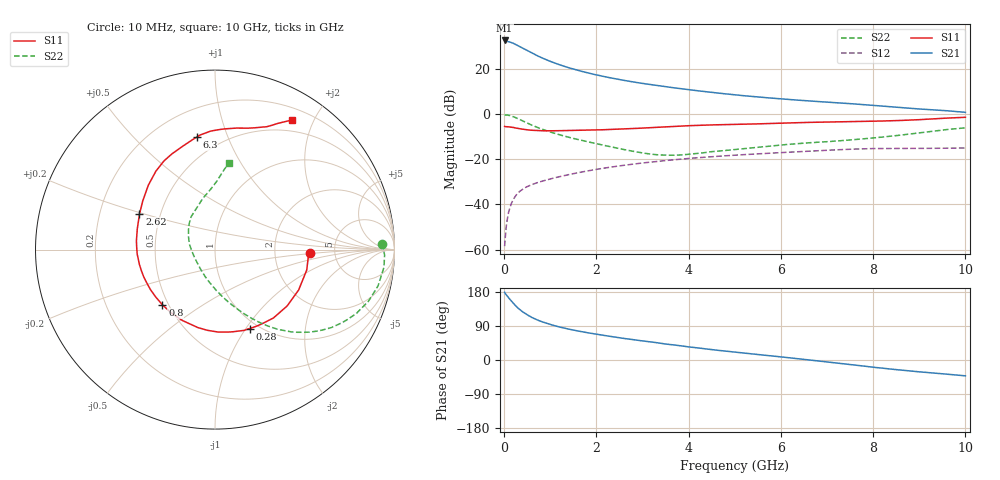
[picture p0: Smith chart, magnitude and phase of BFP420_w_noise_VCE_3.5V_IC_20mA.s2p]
! Infineon Technologies  Discrete & RF Semiconductors
! BFP420
! VCE =  3.5 V,  IC =  20 mA
! Common Emitter S-Parameters:  Jan 2016
# GHz  S  MA  R  50
!  f  S11  S21  S12  S22
! GHz  MAG  ANG  MAG  ANG  MAG  ANG  MAG  ANG
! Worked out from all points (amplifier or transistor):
!   233 points, 10 MHz to 10 GHz, reference 50 ohm
!   highest |S21| = 32.4 dB at 10 MHz (marker M1)
!   |S21| within 3 dB of that: start of sweep to 366.3 MHz
!   unconditionally stable (mu >= 1): start of sweep to 13.98 MHz; 1.841 GHz to end of sweep
!   at 200 MHz: K = 0.27, MSG = 34.4 dB, |S12| = -37.7 dB
!   at 1.74 GHz: K = 0.98, MSG = 22.0 dB, |S12| = -25.5 dB
!   at 10 GHz: K = 1.07, MAG = 6.3 dB, |S12| = -15.1 dB
!   lowest NFmin = 1.23 dB at 900 MHz
!   S11 on the Smith chart (normalised r, x): 10 MHz: 3.22, -0.16; 280 MHz: 0.91, -1.04; 800 MHz: 0.46, -0.35; 2.62 GHz: 0.38, +0.19; 6.3 GHz: 0.37, +0.78; 10 GHz: 0.35, +1.70
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0.01  0.5275 -1.9  41.62 178.6  0.0012 57.6  0.9337 2.0
0.02  0.5214 -4.5  40.49 176.2  0.0017 76.3  0.9456 -1.9
0.055  0.5218 -13.9  39.95 170.6  0.0038 76.7  0.9443 -6.6
0.1  0.5175 -25.8  39.22 163.7  0.0069 76.0  0.9306 -12.6
0.15  0.5101 -38.0  37.73 156.2  0.0101 73.0  0.9016 -18.7
0.2  0.5011 -49.5  35.99 149.3  0.013 70.0  0.8645 -24.3
0.28  0.4802 -66.3  32.76 139.5  0.017 65.4  0.7973 -31.9
0.32  0.4724 -73.9  31.23 135.1  0.0187 63.5  0.7634 -35.3
0.4  0.46 -87.7  28.23 127.2  0.0216 60.3  0.6981 -41.2
0.5  0.4448 -102.4  24.82 119.1  0.0248 57.7  0.6246 -47.2
0.6  0.4347 -114.6  21.95 112.3  0.0274 55.8  0.5624 -52.0
0.8  0.4245 -133.6  17.5 101.7  0.0321 54.0  0.4664 -59.3
1  0.4231 -148.0  14.39 93.7  0.0365 53.3  0.3971 -65.2
1.16  0.4239 -156.9  12.53 88.4  0.0401 53.0  0.3547 -69.3
1.68  0.4351 -178.7  8.669 74.8  0.0519 51.6  0.2595 -82.0
2.62  0.4658 154.6  5.426 56.5  0.0736 46.2  0.1611 -109.5
3.4  0.5091 137.9  4.097 44.0  0.0909 39.9  0.1235 -144.6
5.1  0.5875 113.0  2.566 19.6  0.124 25.0  0.1667 152.3
6.3  0.6345 99.3  2.028 4.3  0.1445 14.6  0.2175 129.1
6.8  0.6536 94.1  1.869 -2.4  0.1534 9.9  0.2357 120.8
8.4  0.7026 74.4  1.426 -24.2  0.1717 -7.6  0.3218 96.8
10  0.8388 59.3  1.08 -41.8  0.176 -19.9  0.4912 80.8
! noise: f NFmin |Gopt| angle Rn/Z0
0.9  1.23  0.16  -154  0.13
1.8  1.51  0.24  -144  0.13
2.4  1.66  0.22  -141  0.15
3  1.69  0.3  -132  0.16
4  1.82  0.42  -115  0.23
5  2.28  0.48  -96  0.37
6  2.65  0.52  -86  0.56
